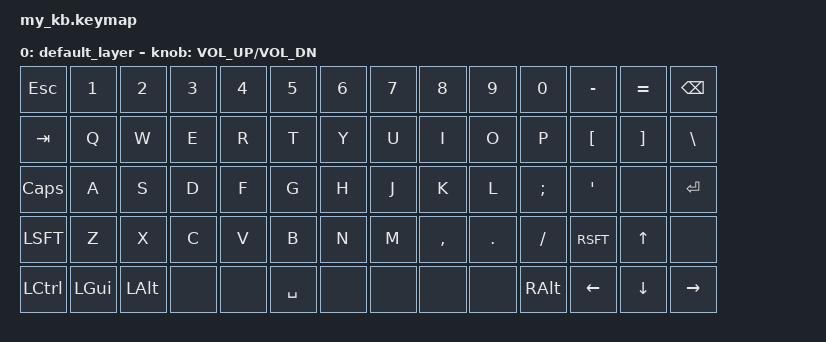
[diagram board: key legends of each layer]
#include <behaviors.dtsi>
#include <dt-bindings/zmk/keys.h>

/ {
    keymap {
        compatible = "zmk,keymap";

        default_layer {
            // This is a 14x5 grid (70 keys total)
            bindings = <
                &kp ESC   &kp N1 &kp N2 &kp N3 &kp N4 &kp N5 &kp N6 &kp N7 &kp N8 &kp N9 &kp N0 &kp MINUS &kp EQUAL &kp BSPC
                &kp TAB   &kp Q  &kp W  &kp E  &kp R  &kp T  &kp Y  &kp U  &kp I  &kp O  &kp P  &kp LBKT  &kp RBKT  &kp BSLH
                &kp CLCK  &kp A  &kp S  &kp D  &kp F  &kp G  &kp H  &kp J  &kp K  &kp L  &kp SEMI &kp SQT   &none     &kp RET
                &kp LSFT  &kp Z  &kp X  &kp C  &kp V  &kp B  &kp N  &kp M  &kp COMMA &kp DOT &kp FSLH &kp RSFT &kp UP    &none
                &kp LCTL  &kp LGUI &kp LALT &none &none &kp SPACE &none &none &none &none &kp RALT &kp LEFT &kp DOWN  &kp RIGHT
            >;

            sensor-bindings = <&inc_dec_kp C_VOL_UP C_VOL_DN>;
        };
    };
};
